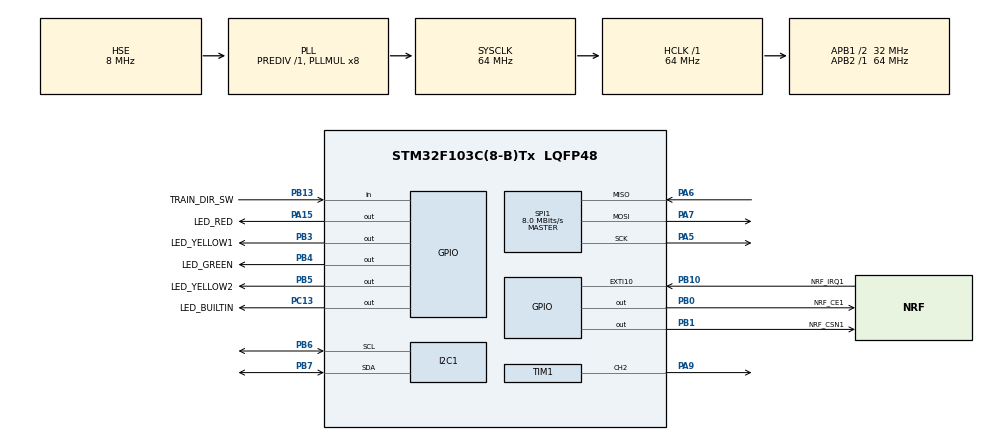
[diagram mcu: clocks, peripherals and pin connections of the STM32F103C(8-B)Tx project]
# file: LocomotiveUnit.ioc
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I2C1.I2C_Mode=I2C_Fast
Mcu.Family=STM32F1
Mcu.Name=STM32F103C(8-B)Tx
Mcu.Package=LQFP48
NVIC.EXTI15_10_IRQn=true\:0\:0\:false\:false\:true\:true\:true\:true
NVIC.PriorityGroup=NVIC_PRIORITYGROUP_4
PA13.Mode=Serial_Wire
PA13.Signal=SYS_JTMS-SWDIO
PA14.Mode=Serial_Wire
PA14.Signal=SYS_JTCK-SWCLK
PA15.GPIO_Label=LED_RED
PA15.Signal=GPIO_Output
PA5.Mode=Full_Duplex_Master
PA5.Signal=SPI1_SCK
PA6.Mode=Full_Duplex_Master
PA6.Signal=SPI1_MISO
PA7.Mode=Full_Duplex_Master
PA7.Signal=SPI1_MOSI
PA9.Signal=S_TIM1_CH2
PB0.GPIO_Label=NRF_CE1
PB0.Signal=GPIO_Output
PB1.GPIO_Label=NRF_CSN1
PB1.PinState=GPIO_PIN_SET
PB1.Signal=GPIO_Output
PB10.GPIO_Label=NRF_IRQ1
PB10.GPIO_ModeDefaultEXTI=GPIO_MODE_IT_FALLING
PB10.Signal=GPXTI10
PB13.GPIO_Label=TRAIN_DIR_SW
PB13.Signal=GPIO_Input
PB3.GPIO_Label=LED_YELLOW1
PB3.Signal=GPIO_Output
PB4.GPIO_Label=LED_GREEN
PB4.Signal=GPIO_Output
PB5.GPIO_Label=LED_YELLOW2
PB5.Signal=GPIO_Output
PB6.Mode=I2C
PB6.Signal=I2C1_SCL
PB7.Mode=I2C
PB7.Signal=I2C1_SDA
PC13-TAMPER-RTC.GPIO_Label=LED_BUILTIN
PC13-TAMPER-RTC.PinState=GPIO_PIN_SET
PC13-TAMPER-RTC.Signal=GPIO_Output
PD0-OSC_IN.Mode=HSE-External-Oscillator
PD0-OSC_IN.Signal=RCC_OSC_IN
PD1-OSC_OUT.Mode=HSE-External-Oscillator
PD1-OSC_OUT.Signal=RCC_OSC_OUT
ProjectManager.HeapSize=0x200
ProjectManager.StackSize=0x400
ProjectManager.TargetToolchain=STM32CubeIDE
RCC.AHBFreq_Value=64000000
RCC.APB1CLKDivider=RCC_HCLK_DIV2
RCC.APB1Freq_Value=32000000
RCC.APB1TimFreq_Value=64000000
RCC.APB2Freq_Value=64000000
RCC.APB2TimFreq_Value=64000000
RCC.HCLKFreq_Value=64000000
RCC.PLLMUL=RCC_PLL_MUL8
RCC.PLLSourceVirtual=RCC_PLLSOURCE_HSE
RCC.SYSCLKFreq_VALUE=64000000
RCC.SYSCLKSource=RCC_SYSCLKSOURCE_PLLCLK
RCC.USBFreq_Value=64000000
SH.S_TIM1_CH2.0=TIM1_CH2,PWM Generation2 CH2
SPI1.BaudRatePrescaler=SPI_BAUDRATEPRESCALER_8
SPI1.CLKPolarity=SPI_POLARITY_LOW
SPI1.CalculateBaudRate=8.0 MBits/s
SPI1.Direction=SPI_DIRECTION_2LINES
SPI1.Mode=SPI_MODE_MASTER
SPI1.VirtualType=VM_MASTER
TIM1.AutoReloadPreload=TIM_AUTORELOAD_PRELOAD_ENABLE
TIM1.Channel-PWM\ Generation2\ CH2=TIM_CHANNEL_2
TIM1.OCFastMode_PWM-PWM\ Generation2\ CH2=TIM_OCFAST_ENABLE
TIM1.Period=400
TIM1.Prescaler=100
VP_TIM1_VS_ClockSourceINT.Mode=Internal
board=custom

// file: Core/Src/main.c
/* USER CODE BEGIN Header */
/**
 ******************************************************************************
 * @file           : main.c
 * @brief          : Main program body
 ******************************************************************************
 * @attention
 *
 * Copyright (c) 2024 STMicroelectronics.
 * All rights reserved.
 *
 * This software is licensed under terms that can be found in the LICENSE file
 * in the root directory of this software component.
 * If no LICENSE file comes with this software, it is provided AS-IS.
 *
 ******************************************************************************
 */
/* USER CODE END Header */
#include "main.h"

/* USER CODE BEGIN Includes */
#include <stdbool.h>
#include "nrf24.h"
#include "ui.h"
/* USER CODE END Includes */

I2C_HandleTypeDef hi2c1;

SPI_HandleTypeDef hspi1;

TIM_HandleTypeDef htim1;

/* USER CODE BEGIN PV */
static volatile bool nrf1IRQTriggered = false;

static NRF24 nrf24 = { &hspi1, NRF_CSN1_GPIO_Port, NRF_CSN1_Pin,
NRF_CE1_Pin, NRF_IRQ1_Pin };

Locomotive locomotive = { 0 };

SSD1306 display;
/* USER CODE END PV */

void SystemClock_Config(void);
static void MX_GPIO_Init(void);
static void MX_I2C1_Init(void);
static void MX_SPI1_Init(void);
static void MX_TIM1_Init(void);
/* USER CODE BEGIN PFP */

static void inline setSpeed(uint8_t percentage)
{
	__HAL_TIM_SET_COMPARE(&htim1, TIM_CHANNEL_2, (percentage * MAX_PWM_VAL) / 100);
}

static void inline locomotiveOperation(void);
/* USER CODE END PFP */

int main(void)
{

	/* MCU Configuration--------------------------------------------------------*/

	/* Reset of all peripherals, Initializes the Flash interface and the Systick. */
	HAL_Init();

	/* Configure the system clock */
	SystemClock_Config();

	/* Initialize all configured peripherals */
	MX_GPIO_Init();
	MX_I2C1_Init();
	MX_SPI1_Init();
	MX_TIM1_Init();
	/* USER CODE BEGIN 2 */

	locomotive.id = LOCOMOTIVE_NODE_ID;
	locomotive.dir = TO_HIGHER_NODE;
	locomotive.comNodeNo = 1;
	locomotive.comNodeID = NODE_IDS[locomotive.comNodeNo - 1];

	nRF24_Init(&nrf24);
	nRF24_SetAddrWidth(&nrf24, 5);
	nRF24_SetRFChannel(&nrf24, RF_CHANNEL);
	nRF24_SetDataRate(&nrf24, NRF24_DATA_RATE);
	nRF24_SetCRCScheme(&nrf24, nRF24_CRC_2byte);
	nRF24_SetTXPower(&nrf24, NRF24_TX_PWR);
	nRF24_SetAutoRetr(&nrf24, NRF24_AUTO_RETRY_DELAY, NRF24_AUTO_RETRY_COUNT);
	nRF24_EnableAA(&nrf24, nRF24_PIPE0);
	nRF24_SetOperationalMode(&nrf24, nRF24_MODE_TX);
	nRF24_SetDynamicPayloadLength(&nrf24, nRF24_DPL_ON);
	nRF24_SetPayloadWithAck(&nrf24, 1);
	nRF24_SetPowerMode(&nrf24, nRF24_PWR_UP);

	/* USER CODE END 2 */

	/* Infinite loop */
	/* USER CODE BEGIN WHILE */
	UI_Init(&display);
	updateUI(&display, &locomotive);
	HAL_GPIO_WritePin(LED_YELLOW1_GPIO_Port, LED_YELLOW1_Pin, GPIO_PIN_RESET);
	HAL_GPIO_WritePin(LED_YELLOW1_GPIO_Port, LED_YELLOW2_Pin, GPIO_PIN_SET);

	while (1)
	{
		/* USER CODE END WHILE */
		locomotiveOperation();
	}
}

void SystemClock_Config(void)
{
	RCC_OscInitTypeDef RCC_OscInitStruct = { 0 };
	RCC_ClkInitTypeDef RCC_ClkInitStruct = { 0 };

	/** Initializes the RCC Oscillators according to the specified parameters
	 * in the RCC_OscInitTypeDef structure.
	 */
	RCC_OscInitStruct.OscillatorType = RCC_OSCILLATORTYPE_HSE;
	RCC_OscInitStruct.HSEState = RCC_HSE_ON;
	RCC_OscInitStruct.HSEPredivValue = RCC_HSE_PREDIV_DIV1;
	RCC_OscInitStruct.HSIState = RCC_HSI_ON;
	RCC_OscInitStruct.PLL.PLLState = RCC_PLL_ON;
	RCC_OscInitStruct.PLL.PLLSource = RCC_PLLSOURCE_HSE;
	RCC_OscInitStruct.PLL.PLLMUL = RCC_PLL_MUL8;
	if (HAL_RCC_OscConfig(&RCC_OscInitStruct) != HAL_OK)
	{
		Error_Handler();
	}

	/** Initializes the CPU, AHB and APB buses clocks
	 */
	RCC_ClkInitStruct.ClockType = RCC_CLOCKTYPE_HCLK | RCC_CLOCKTYPE_SYSCLK | RCC_CLOCKTYPE_PCLK1 | RCC_CLOCKTYPE_PCLK2;
	RCC_ClkInitStruct.SYSCLKSource = RCC_SYSCLKSOURCE_PLLCLK;
	RCC_ClkInitStruct.AHBCLKDivider = RCC_SYSCLK_DIV1;
	RCC_ClkInitStruct.APB1CLKDivider = RCC_HCLK_DIV2;
	RCC_ClkInitStruct.APB2CLKDivider = RCC_HCLK_DIV1;

	if (HAL_RCC_ClockConfig(&RCC_ClkInitStruct, FLASH_LATENCY_2) != HAL_OK)
	{
		Error_Handler();
	}
}

static void MX_I2C1_Init(void)
{

	hi2c1.Instance = I2C1;
	hi2c1.Init.ClockSpeed = 400000;
	hi2c1.Init.DutyCycle = I2C_DUTYCYCLE_2;
	hi2c1.Init.OwnAddress1 = 0;
	hi2c1.Init.AddressingMode = I2C_ADDRESSINGMODE_7BIT;
	hi2c1.Init.DualAddressMode = I2C_DUALADDRESS_DISABLE;
	hi2c1.Init.OwnAddress2 = 0;
	hi2c1.Init.GeneralCallMode = I2C_GENERALCALL_DISABLE;
	hi2c1.Init.NoStretchMode = I2C_NOSTRETCH_DISABLE;
	if (HAL_I2C_Init(&hi2c1) != HAL_OK)
	{
		Error_Handler();
	}
}

static void MX_SPI1_Init(void)
{

	/* SPI1 parameter configuration*/
	hspi1.Instance = SPI1;
	hspi1.Init.Mode = SPI_MODE_MASTER;
	hspi1.Init.Direction = SPI_DIRECTION_2LINES;
	hspi1.Init.DataSize = SPI_DATASIZE_8BIT;
	hspi1.Init.CLKPolarity = SPI_POLARITY_LOW;
	hspi1.Init.CLKPhase = SPI_PHASE_1EDGE;
	hspi1.Init.NSS = SPI_NSS_SOFT;
	hspi1.Init.BaudRatePrescaler = SPI_BAUDRATEPRESCALER_8;
	hspi1.Init.FirstBit = SPI_FIRSTBIT_MSB;
	hspi1.Init.TIMode = SPI_TIMODE_DISABLE;
	hspi1.Init.CRCCalculation = SPI_CRCCALCULATION_DISABLE;
	hspi1.Init.CRCPolynomial = 10;
	if (HAL_SPI_Init(&hspi1) != HAL_OK)
	{
		Error_Handler();
	}
}

static void MX_TIM1_Init(void)
{

	TIM_ClockConfigTypeDef sClockSourceConfig = { 0 };
	TIM_MasterConfigTypeDef sMasterConfig = { 0 };
	TIM_OC_InitTypeDef sConfigOC = { 0 };
	TIM_BreakDeadTimeConfigTypeDef sBreakDeadTimeConfig = { 0 };

	htim1.Instance = TIM1;
	htim1.Init.Prescaler = 100;
	htim1.Init.CounterMode = TIM_COUNTERMODE_UP;
	htim1.Init.Period = 400;
	htim1.Init.ClockDivision = TIM_CLOCKDIVISION_DIV1;
	htim1.Init.RepetitionCounter = 0;
	htim1.Init.AutoReloadPreload = TIM_AUTORELOAD_PRELOAD_ENABLE;
	if (HAL_TIM_Base_Init(&htim1) != HAL_OK)
	{
		Error_Handler();
	}
	sClockSourceConfig.ClockSource = TIM_CLOCKSOURCE_INTERNAL;
	if (HAL_TIM_ConfigClockSource(&htim1, &sClockSourceConfig) != HAL_OK)
	{
		Error_Handler();
	}
	if (HAL_TIM_PWM_Init(&htim1) != HAL_OK)
	{
		Error_Handler();
	}
	sMasterConfig.MasterOutputTrigger = TIM_TRGO_RESET;
	sMasterConfig.MasterSlaveMode = TIM_MASTERSLAVEMODE_DISABLE;
	if (HAL_TIMEx_MasterConfigSynchronization(&htim1, &sMasterConfig) != HAL_OK)
	{
		Error_Handler();
	}
	sConfigOC.OCMode = TIM_OCMODE_PWM1;
	sConfigOC.Pulse = 0;
	sConfigOC.OCPolarity = TIM_OCPOLARITY_HIGH;
	sConfigOC.OCNPolarity = TIM_OCNPOLARITY_HIGH;
	sConfigOC.OCFastMode = TIM_OCFAST_ENABLE;
	sConfigOC.OCIdleState = TIM_OCIDLESTATE_RESET;
	sConfigOC.OCNIdleState = TIM_OCNIDLESTATE_RESET;
	if (HAL_TIM_PWM_ConfigChannel(&htim1, &sConfigOC, TIM_CHANNEL_2) != HAL_OK)
	{
		Error_Handler();
	}
	sBreakDeadTimeConfig.OffStateRunMode = TIM_OSSR_DISABLE;
	sBreakDeadTimeConfig.OffStateIDLEMode = TIM_OSSI_DISABLE;
	sBreakDeadTimeConfig.LockLevel = TIM_LOCKLEVEL_OFF;
	sBreakDeadTimeConfig.DeadTime = 0;
	sBreakDeadTimeConfig.BreakState = TIM_BREAK_DISABLE;
	sBreakDeadTimeConfig.BreakPolarity = TIM_BREAKPOLARITY_HIGH;
	sBreakDeadTimeConfig.AutomaticOutput = TIM_AUTOMATICOUTPUT_DISABLE;
	if (HAL_TIMEx_ConfigBreakDeadTime(&htim1, &sBreakDeadTimeConfig) != HAL_OK)
	{
		Error_Handler();
	}
	HAL_TIM_MspPostInit(&htim1);
}

static void MX_GPIO_Init(void)
{
	GPIO_InitTypeDef GPIO_InitStruct = { 0 };

	/* GPIO Ports Clock Enable */
	__HAL_RCC_GPIOC_CLK_ENABLE();
	__HAL_RCC_GPIOD_CLK_ENABLE();
	__HAL_RCC_GPIOA_CLK_ENABLE();
	__HAL_RCC_GPIOB_CLK_ENABLE();

	/*Configure GPIO pin Output Level */
	HAL_GPIO_WritePin(LED_BUILTIN_GPIO_Port, LED_BUILTIN_Pin, GPIO_PIN_SET);

	/*Configure GPIO pin Output Level */
	HAL_GPIO_WritePin(GPIOB, NRF_CE1_Pin | LED_YELLOW1_Pin | LED_GREEN_Pin | LED_YELLOW2_Pin, GPIO_PIN_RESET);

	/*Configure GPIO pin Output Level */
	HAL_GPIO_WritePin(NRF_CSN1_GPIO_Port, NRF_CSN1_Pin, GPIO_PIN_SET);

	/*Configure GPIO pin Output Level */
	HAL_GPIO_WritePin(LED_RED_GPIO_Port, LED_RED_Pin, GPIO_PIN_RESET);

	/*Configure GPIO pin : LED_BUILTIN_Pin */
	GPIO_InitStruct.Pin = LED_BUILTIN_Pin;
	GPIO_InitStruct.Mode = GPIO_MODE_OUTPUT_PP;
	GPIO_InitStruct.Pull = GPIO_NOPULL;
	GPIO_InitStruct.Speed = GPIO_SPEED_FREQ_LOW;
	HAL_GPIO_Init(LED_BUILTIN_GPIO_Port, &GPIO_InitStruct);

	/*Configure GPIO pins : NRF_CE1_Pin NRF_CSN1_Pin LED_YELLOW1_Pin LED_GREEN_Pin
	 LED_YELLOW2_Pin */
	GPIO_InitStruct.Pin = NRF_CE1_Pin | NRF_CSN1_Pin | LED_YELLOW1_Pin | LED_GREEN_Pin | LED_YELLOW2_Pin;
	GPIO_InitStruct.Mode = GPIO_MODE_OUTPUT_PP;
	GPIO_InitStruct.Pull = GPIO_NOPULL;
	GPIO_InitStruct.Speed = GPIO_SPEED_FREQ_LOW;
	HAL_GPIO_Init(GPIOB, &GPIO_InitStruct);

	/*Configure GPIO pin : NRF_IRQ1_Pin */
	GPIO_InitStruct.Pin = NRF_IRQ1_Pin;
	GPIO_InitStruct.Mode = GPIO_MODE_IT_FALLING;
	GPIO_InitStruct.Pull = GPIO_NOPULL;
	HAL_GPIO_Init(NRF_IRQ1_GPIO_Port, &GPIO_InitStruct);

	/*Configure GPIO pin : TRAIN_DIR_SW_Pin */
	GPIO_InitStruct.Pin = TRAIN_DIR_SW_Pin;
	GPIO_InitStruct.Mode = GPIO_MODE_INPUT;
	GPIO_InitStruct.Pull = GPIO_NOPULL;
	HAL_GPIO_Init(TRAIN_DIR_SW_GPIO_Port, &GPIO_InitStruct);

	/*Configure GPIO pin : LED_RED_Pin */
	GPIO_InitStruct.Pin = LED_RED_Pin;
	GPIO_InitStruct.Mode = GPIO_MODE_OUTPUT_PP;
	GPIO_InitStruct.Pull = GPIO_NOPULL;
	GPIO_InitStruct.Speed = GPIO_SPEED_FREQ_LOW;
	HAL_GPIO_Init(LED_RED_GPIO_Port, &GPIO_InitStruct);

	/* EXTI interrupt init*/
	HAL_NVIC_SetPriority(EXTI15_10_IRQn, 0, 0);
	HAL_NVIC_EnableIRQ(EXTI15_10_IRQn);

}

/* USER CODE BEGIN 4 */
static void inline locomotiveOperation(void)
{
	static unsigned long prevTxMillis, prevSwitchMillis;
	static Signal prevSignalState = SIGNAL_NOT_KNOWN;
	static Payload payload = { 0 };
	static bool switchedNode = false, prevSwitchState = true;
	bool isPayloadValid = false, currentSwitchState;

	unsigned long currentMillis = HAL_GetTick();

	// train dir switch state
	if (currentMillis - prevSwitchMillis >= SW_SAMPLING_INTERVAL)
	{
		currentSwitchState = HAL_GPIO_ReadPin(TRAIN_DIR_SW_GPIO_Port, TRAIN_DIR_SW_Pin);

		// switch has been pressed, change locomotive direction
		if (currentSwitchState == GPIO_PIN_RESET && prevSwitchState == GPIO_PIN_SET)
		{
			switch (locomotive.dir)
			{
			case TO_HIGHER_NODE:
				locomotive.dir = TO_LOWER_NODE;
				locomotive.comNodeNo = TOTAL_NO_OF_NODES;
				locomotive.comNodeID = NODE_IDS[locomotive.comNodeNo - 1];

				HAL_GPIO_WritePin(LED_YELLOW1_GPIO_Port, LED_YELLOW1_Pin, GPIO_PIN_SET);
				HAL_GPIO_WritePin(LED_YELLOW1_GPIO_Port, LED_YELLOW2_Pin, GPIO_PIN_RESET);
				break;

			default:
				locomotive.dir = TO_HIGHER_NODE;
				locomotive.comNodeNo = 1;
				locomotive.comNodeID = NODE_IDS[locomotive.comNodeNo - 1];

				HAL_GPIO_WritePin(LED_YELLOW1_GPIO_Port, LED_YELLOW1_Pin, GPIO_PIN_RESET);
				HAL_GPIO_WritePin(LED_YELLOW1_GPIO_Port, LED_YELLOW2_Pin, GPIO_PIN_SET);
				break;
			}
			prevSignalState = SIGNAL_NOT_KNOWN;
			memset(locomotive.signalData, SIGNAL_NOT_KNOWN, sizeof(locomotive.signalData));
			memset(payload.receivePayload, 0, PAYLOAD_LENGTH);
		}
		prevSwitchState = currentSwitchState;
		prevSwitchMillis = currentMillis;
	}

	if (currentMillis - prevTxMillis >= TX_INTERVAL)
	{
		nRF24_SetAddr(&nrf24, nRF24_PIPETX, NODE_ADDRESS[locomotive.comNodeNo - 1]);
		nRF24_SetAddr(&nrf24, nRF24_PIPE0, NODE_ADDRESS[locomotive.comNodeNo - 1]);

		// Deassert the CE pin (in case if it still high)
		nRF24_CE_L(&nrf24);

		payload.transmitPayload[0] = locomotive.id;
		payload.transmitPayload[1] = locomotive.comNodeID;

		if (nRF24_GetStatus_TXFIFO(&nrf24) == nRF24_STATUS_TXFIFO_FULL)
			nRF24_FlushTX(&nrf24);

		if (nRF24_GetStatus_RXFIFO(&nrf24) == nRF24_STATUS_RXFIFO_FULL)
			nRF24_FlushRX(&nrf24);

		// Transfer a data from the specified buffer to the TX FIFO
		nRF24_WritePayload(&nrf24, payload.transmitPayload, LOCOMOTIVE_PAYLOAD_LENGTH);

		// Start a transmission by asserting CE pin (must be held at least 10us)
		nRF24_CE_H(&nrf24);

		prevTxMillis = currentMillis;
	}

	if (nrf1IRQTriggered)
	{
		uint8_t payloadLength = PAYLOAD_LENGTH;
		uint8_t status = 0;

		status = nRF24_GetStatus(&nrf24);

		// nRF24_FLAG_RX_DR bit is when the ack payload is received from PRX
		if ((status & nRF24_FLAG_RX_DR )
				&& nRF24_ReadPayloadDpl(&nrf24, payload.receivePayload, &payloadLength) == nRF24_RX_PIPE0)
		{
			isPayloadValid = isPayLoadValid(&locomotive, &payload);
			if (isPayloadValid)
			{
				extractPayloadData(&locomotive, &payload);
				HAL_GPIO_TogglePin(LED_BUILTIN_GPIO_Port, LED_BUILTIN_Pin);
			}
		}

		// Deassert the CE pin (Standby-II --> Standby-I)
		nRF24_CE_L(&nrf24);
		nRF24_ClearIRQFlags(&nrf24);

		nrf1IRQTriggered = false;
	}

	// if the locomotive has switched signal unit, then ignore the first payload from the next signal unit
	// this is to avoid receiving old data. The payload from the signal unit is updated with recent data
	// only after a transmission
	if (isPayloadValid && switchedNode == false)
	{

		// if the current communicating node signal turned red but was previously green, double yellow or yellow
		// then the locomotive as reached the current communicating signal.
		if (locomotive.signalData[0] == RED
				&& (prevSignalState == GREEN || prevSignalState == DOUBLE_YELLOW || prevSignalState == YELLOW))
		{
			switchedNode = true;
			// switching to next communication node
			switch (locomotive.dir)
			{
			case TO_HIGHER_NODE:
				if (locomotive.comNodeNo < TOTAL_NO_OF_NODES)
				{
					locomotive.comNodeNo++;
					locomotive.comNodeID = NODE_IDS[locomotive.comNodeNo - 1];
				}
				break;

			case TO_LOWER_NODE:
				if (locomotive.comNodeNo > 1)
				{
					locomotive.comNodeNo--;
					locomotive.comNodeID = NODE_IDS[locomotive.comNodeNo - 1];
				}
				break;

			default:
				break;
			}

			prevSignalState = SIGNAL_NOT_KNOWN;
			memset(locomotive.signalData, SIGNAL_NOT_KNOWN, sizeof(locomotive.signalData));
			memset(payload.receivePayload, 0, PAYLOAD_LENGTH);
		}

		// the train switches the node when the signal it is communicating with turned RED
		// signifying that the train crossed that signal.
		// However, this changes the locomotive state to STOP which makes the train to apply brakes until it has acquired the
		// state of the next signal. To avoid this behavior, a check is made to see whether the train has switched nodes
		// if it has then it wont change the speed
		if (switchedNode == false)
		{
			updateLocomotiveState(&locomotive);
			// set the speed as per the locomotive state
			switch (locomotive.state)
			{
			case GO:
				HAL_TIM_PWM_Start(&htim1, TIM_CHANNEL_2);
				setSpeed(60);
				break;
			case SLOW_DOWN:
				HAL_TIM_PWM_Start(&htim1, TIM_CHANNEL_2);
				setSpeed(50);
				break;

			case STOP:
				setSpeed(0);
				HAL_TIM_PWM_Stop(&htim1, TIM_CHANNEL_2);
				break;

			default:
				break;
			}
			prevSignalState = locomotive.signalData[0];
		}
		isPayloadValid = false;
		updateUI(&display, &locomotive);
	} else
	{
		if (isPayloadValid && switchedNode)
		{
			switchedNode = false;
			isPayloadValid = false;
		}
	}
}

void HAL_GPIO_EXTI_Callback(uint16_t GPIO_Pin)
{

	if (GPIO_Pin == NRF_IRQ1_Pin)
	{
		nrf1IRQTriggered = true;
	}
}
/* USER CODE END 4 */

void Error_Handler(void)
{
	__disable_irq();
	while (1)
	{
	}
}
